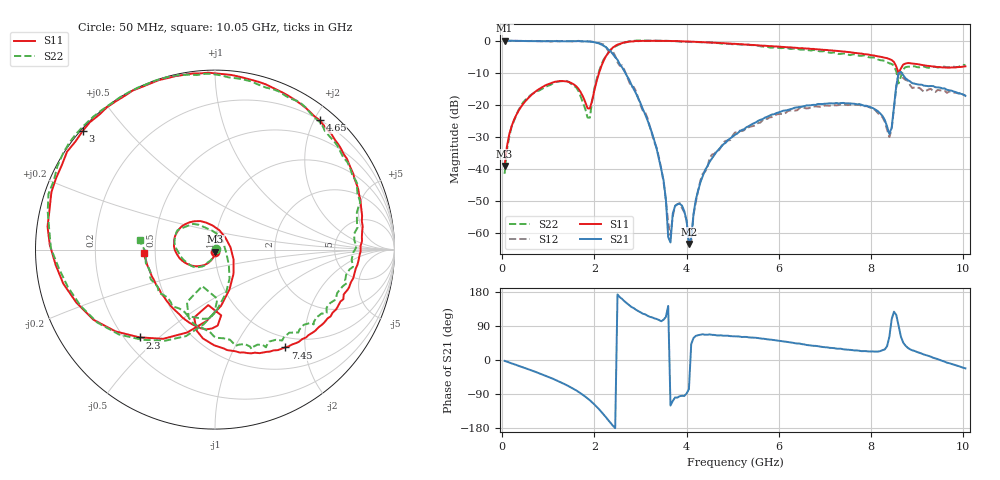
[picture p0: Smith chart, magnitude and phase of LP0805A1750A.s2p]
! AVX THIN FILM OPERATION
! 0805 Size Low Pass Filter P/N  LP0805A1750AWTR
! Network Analyzer HP8720ES.07.64: Feb 23, 2000 Serial No. US39172382
! Hewlett-Packard
!  2 Feb 2003  04:04:37
! Frequency  S11  S21  S12  S22
# HZ  S  DB R  50
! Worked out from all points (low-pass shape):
!   201 points, 50 MHz to 10.05 GHz, reference 50 ohm
!   highest |S21| = -0.01 dB at 50 MHz (marker M1); lowest = -63.4 dB at 4.05 GHz (marker M2)
!   |S21| within 3 dB of the highest: start of sweep to 2.322 GHz
!   lowest |S11| = -39.1 dB at 50 MHz (marker M3), VSWR 1.02, Z = 50.2 - j1.1 ohm
!   |S11| at or under -10 dB: start of sweep to 2.1 GHz; 8.596838 GHz to 8.604554 GHz (7.716 MHz wide, 0.0897 % of centre)
!   |S22| runs from -41.5 to 0.1 dB; largest |S21 - S12| = 0.061
!   S11 on the Smith chart (normalised r, x): 50 MHz: 1.00, -0.02; 2.3 GHz: 0.26, -0.43; 3 GHz: 0.01, +0.38; 4.65 GHz: 0.20, +2.08; 7.45 GHz: 0.82, -1.63; 10.05 GHz: 0.43, -0.02
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5e7  -39.11 -80.7  -0.01 -2.3  0.05 -2.4  -41.52 14.8
2e8  -26.79 -102.4  -0.02 -8.8  -0.04 -8.7  -26.94 -102.6
5e8  -18.89 -128.6  -0.12 -21.7  -0.08 -21.9  -18.46 -127.6
1.4e9  -12.73 151.1  -0.17 -66.6  -0.19 -66.5  -12.57 152.8
1.75e9  -17.43 95.3  -0.19 -92.0  -0.24 -92.1  -19.33 99.7
1.9e9  -21.18 8.4  -0.30 -106.3  -0.25 -106.9  -24.05 -11.6
2.3e9  -3.81 -130.6  -2.75 -158.9  -3.23 -158.6  -3.81 -128.8
2.6e9  -0.72 178.3  -8.33 161.1  -7.71 162.1  -0.78 179.6
3e9  -0.08 138.1  -19.49 125.8  -20.12 121.1  0.06 140.1
3.4e9  -0.06 111.2  -36.91 105.7  -36.51 102.2  -0.03 112.5
3.55e9  -0.08 102.7  -49.55 113.8  -49.76 111.6  -0.03 104.0
3.6e9  -0.10 100.0  -61.26 142.5  -56.79 138.1  -0.07 101.5
3.85e9  -0.19 87.2  -50.87 -95.5  -50.67 -100.5  -0.25 88.0
4.05e9  -0.29 77.6  -63.40 -76.9  -64.12 -66.6  -0.37 78.0
4.3e9  -0.42 66.3  -44.17 66.8  -43.63 67.1  -0.50 65.9
4.65e9  -0.66 51.0  -34.66 65.0  -34.46 61.2  -0.72 51.1
5.05e9  -0.99 34.6  -29.38 62.4  -28.65 59.1  -1.07 33.5
6.75e9  -2.57 -30.0  -20.02 37.5  -20.57 37.7  -2.92 -29.5
7.45e9  -3.47 -54.4  -19.57 27.6  -20.01 25.9  -4.05 -53.8
8.4e9  -5.74 -93.8  -29.09 61.4  -30.10 61.5  -7.07 -98.7
8.6e9  -10.13 -96.9  -10.10 90.9  -10.30 85.6  -13.34 -109.2
1.005e10  -8.02 -177.0  -17.23 -22.0  -17.02 -16.8  -7.55 172.3
